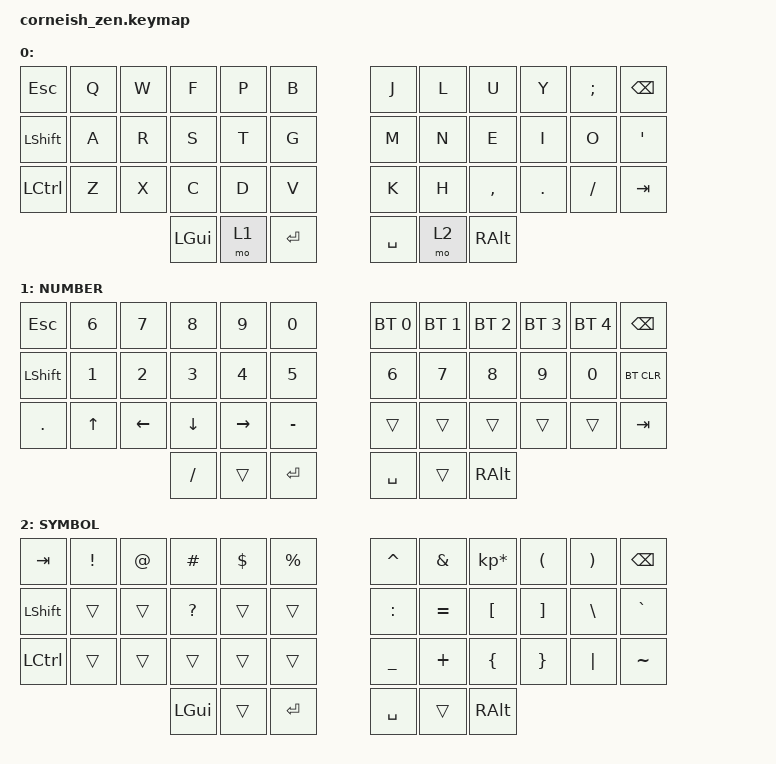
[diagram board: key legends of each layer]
#include <behaviors.dtsi>
#include <dt-bindings/zmk/keys.h>
#include <dt-bindings/zmk/bt.h>

/ {
  chosen {
    zmk,matrix_transform = &default_transform;
    //zmk,matrix_transform = &five_column_transform;
  };
};

/ {
        keymap {
                compatible = "zmk,keymap";

                default_layer {
                        label = " ";
// -----------------------------------------------------------------------------------------
// |  ESC |  Q  |  W  |  F  |  P  |  B  |   |  J  |  L   |  U  |  Y  |  ;  | BKSP |
// | SHFT |  A  |  R  |  S  |  T  |  G  |   |  M  |  N   |  E  |  I  |  O  |  '   |
// | CTRL |  Z  |  X  |  C  |  D  |  V  |   |  K  |  H   |  ,  |  .  |  /  | TAB  |
//                    | GUI | LWR | ENT |   | SPC | RSE  | ALT |
                        bindings = <
   &kp ESC   &kp Q &kp W &kp F &kp P &kp B   &kp J &kp L  &kp U     &kp Y   &kp SEMI &kp BSPC
   &kp LSHFT &kp A &kp R &kp S &kp T &kp G   &kp M &kp N  &kp E     &kp I   &kp O    &kp SQT
   &kp LCTRL &kp Z &kp X &kp C &kp D &kp V   &kp K &kp H  &kp COMMA &kp DOT &kp FSLH &kp TAB
                   &kp LGUI &mo 1 &kp RET    &kp SPACE &mo 2 &kp RALT
                        >;
                };
                lower_layer {
                        label = "NUMBER";
// -----------------------------------------------------------------------------------------
// |  ESC |  6  |  7  |  8  |  9  |  0  |   | BT1 | BT2 | BT3 | BT4 | BT5 | BKSP |
// | SHFT |  1  |  2  |  3  |  4  |  5  |   |  6  |  7  |  8  |  9  |  0  | BTCLR|
// |  .   |  UP | LFT | DWN | RGT |  -  |   |     |     |     |     |     |  TAB |
//                    |  /  |     | ENT |   | SPC |     | ALT |
                        bindings = <
   &kp ESC    &kp N6       &kp N7       &kp N8       &kp N9        &kp N0        &bt BT_SEL 0  &bt BT_SEL 1  &bt BT_SEL 2   &bt BT_SEL 3  &bt BT_SEL 4  &kp BSPC
   &kp LSHFT  &kp N1       &kp N2       &kp N3       &kp N4        &kp N5        &kp N6        &kp N7        &kp N8         &kp N9        &kp N0        &bt BT_CLR
   &kp DOT    &kp UP       &kp LEFT     &kp DOWN     &kp RIGHT     &kp MINUS     &trans        &trans        &trans         &trans        &trans        &kp TAB
                          	            &kp FSLH     &trans        &kp RET       &kp SPACE     &trans        &kp RALT
                        >;
                };

                raise_layer {
                        label = "SYMBOL";
// -----------------------------------------------------------------------------------------
// |  TAB |  !  |  @  |  #  |  $  |  %  |   |  ^  |  &  |  *  |  (  |  )  | BKSP |
// | SHFT |     |     |  ?  |     |     |   |  :  |  =  |  [  |  ]  |  \  |  `   |
// | CTRL |     |     |     |     |     |   |  _  |  +  |  {  |  }  | "|" |  ~   |
//                    | GUI |     | ENT |   | SPC |     | ALT |
                        bindings = <
   &kp  TAB  &kp EXCL &kp AT_SIGN &kp HASH    &kp DLLR &kp PRCNT   &kp CARET &kp AMPS  &kp KP_MULTIPLY &kp LPAR &kp RPAR &kp BSPC
   &kp LSHFT &trans   &trans &kp QMARK   &trans   &trans      &kp COLON &kp EQUAL &kp LBKT        &kp RBKT &kp BSLH &kp GRAVE
   &kp LCTRL &trans   &trans &trans      &trans   &trans      &kp UNDER &kp PLUS  &kp LBRC        &kp RBRC &kp PIPE &kp TILDE
                    	       &kp LGUI    &trans   &kp RET     &kp SPACE   &trans    &kp RALT
                        >;
                };
        };
};
